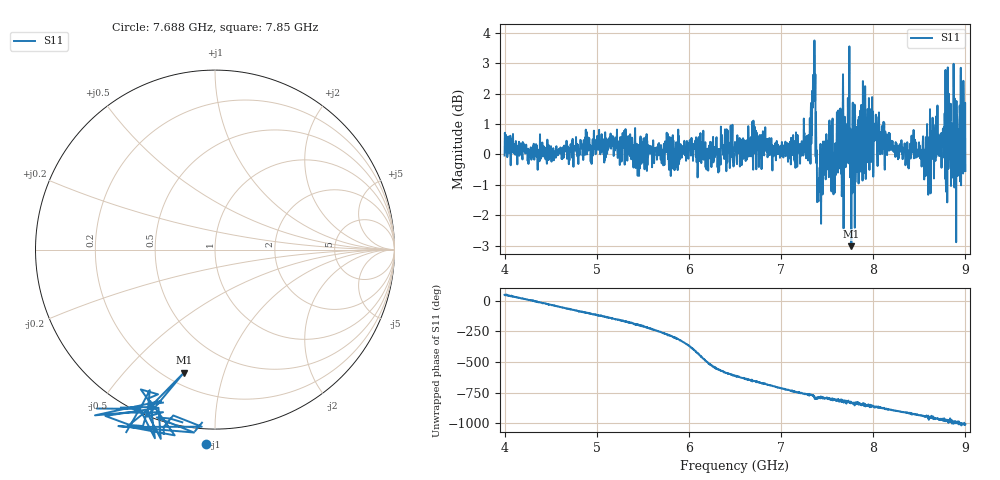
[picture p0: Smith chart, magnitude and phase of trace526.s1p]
! Created with skrf 1.8.0 (http://scikit-rf.org).
# Hz S RI R 50.0
!freq ReS11 ImS11
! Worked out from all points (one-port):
!   1601 points, 4 GHz to 9 GHz, reference 50 ohm
!   lowest |S11| = -3.0 dB at 7.762 GHz (marker M1), VSWR 5.82, Z = 13.6 - j37.1 ohm
!   |S11| at or under -10 dB: nowhere
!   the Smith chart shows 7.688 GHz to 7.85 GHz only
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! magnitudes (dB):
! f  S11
! 4 GHz  0.0
! 4.625 GHz  -0.2
! 5.25 GHz  -0.3
! 5.875 GHz  0.2
! 6.319 GHz  -0.6
! 6.412 GHz  0.5
! 6.5 GHz  0.4
! 7.125 GHz  0.1
! 7.294 GHz  -0.2
! 7.347 GHz  2.6
! 7.362 GHz  3.7
! 7.409 GHz  -0.9
! 7.516 GHz  -0.2
! 7.569 GHz  -1.3
! 7.625 GHz  0.4
! 7.75 GHz  -0.8
! 7.762 GHz  -3.0
! 7.784 GHz  -0.5
! 7.844 GHz  1.2
! 7.928 GHz  1.0
! 8.375 GHz  -0.2
! 8.441 GHz  -0.1
! 8.603 GHz  -0.5
! 8.656 GHz  0.7
! 8.822 GHz  2.0
! 8.875 GHz  1.1
! 8.956 GHz  0.3
! 9 GHz  -0.5
